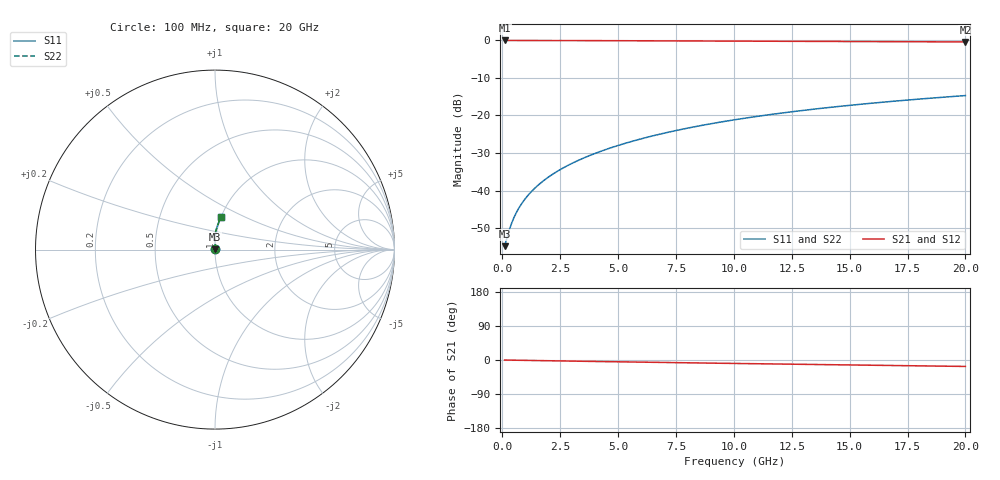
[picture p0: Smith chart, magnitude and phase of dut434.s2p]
! Touchstone file exported from HFSS 2024.1.0
!  File:  C:/UserFiles/LocalFiles/RDL_TSV_Batchsim/temp_RDL_bottom_434_1779684406.aedt
!  Generated:  12:49:16 PM May 25, 2026
!  Design:  RDL_bottom
!  Project:  temp_RDL_bottom_434_1779684406
!  Setup:  Setup1
!  Solution:  Sweep
! Variables:
!  dtsv = 10.80580581um
!  hbump = 3um
!  htsv = 95.97um
!  ldown = 193.76um
!  lrdl = 100um
!  p = 40
!  p1 = 56.95um
!  rhole = 1um
!  t = 450um
!  tdown = 2.1um
!  trdl = 3.915915916um
!  wdown = 28.3um
!  wrdl = 20um
# GHz S MA R 50.000000
! Terminal data exported
! Port[1] = RDL1_T1
! Port[2] = RDL1_T2
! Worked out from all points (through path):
!   200 points, 100 MHz to 20 GHz, reference 50 ohm
!   highest |S21| = -0.01 dB at 100 MHz (marker M1); lowest = -0.4 dB at 20 GHz (marker M2)
!   group delay of S21, straight-line fit = 2.33 ps
!   lowest |S11| = -54.8 dB at 100 MHz (marker M3), VSWR 1.00, Z = 50.2 + j0.083 ohm
!   |S11| at or under -10 dB: start of sweep to end of sweep
!   |S22| runs from -54.8 to -14.7 dB; largest |S21 - S12| = 1.8e-15
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0.1  0.001814 27.1  0.9984 -0.1  0.9984 -0.1  0.001814 27.1
! Gamma 0 0 0 0
! Port Impedance 50 0 50 0
0.3  0.002966 55.0  0.9983 -0.3  0.9983 -0.3  0.002966 55.0
0.4  0.003647 61.3  0.9982 -0.4  0.9982 -0.4  0.003647 61.3
0.5  0.004339 65.6  0.9981 -0.5  0.9981 -0.5  0.004339 65.6
0.6  0.005034 68.7  0.998 -0.6  0.998 -0.6  0.005034 68.7
0.7  0.005732 71.2  0.9979 -0.7  0.9979 -0.7  0.005732 71.2
0.9  0.007135 74.9  0.9977 -0.9  0.9977 -0.9  0.007134 74.9
1.2  0.009269 78.7  0.9974 -1.2  0.9974 -1.2  0.009269 78.7
1.7  0.01292 82.7  0.9969 -1.7  0.9969 -1.7  0.01292 82.7
2.2  0.01668 85.2  0.9962 -2.2  0.9962 -2.2  0.01668 85.2
2.8  0.02134 87.2  0.9953 -2.8  0.9953 -2.8  0.02134 87.2
3.5  0.02699 88.8  0.994 -3.4  0.994 -3.4  0.02699 88.8
4.2  0.03286 89.8  0.9925 -4.1  0.9925 -4.1  0.03286 89.8
5  0.03982 90.4  0.9907 -4.8  0.9907 -4.8  0.03982 90.4
5.9  0.04794 90.7  0.9885 -5.6  0.9885 -5.6  0.04794 90.7
6.8  0.05632 90.6  0.9863 -6.4  0.9863 -6.4  0.05632 90.6
8.4  0.07165 89.8  0.9823 -7.7  0.9823 -7.7  0.07165 89.8
10.1  0.0883 88.6  0.9781 -9.2  0.9781 -9.2  0.0883 88.6
11.7  0.1041 87.1  0.9742 -10.5  0.9742 -10.5  0.1041 87.1
13.4  0.1208 85.5  0.9702 -11.8  0.9702 -11.8  0.1208 85.5
16.7  0.1529 82.2  0.9624 -14.4  0.9624 -14.4  0.1529 82.2
20  0.1841 79.0  0.9545 -17.0  0.9545 -17.0  0.184 79.0
